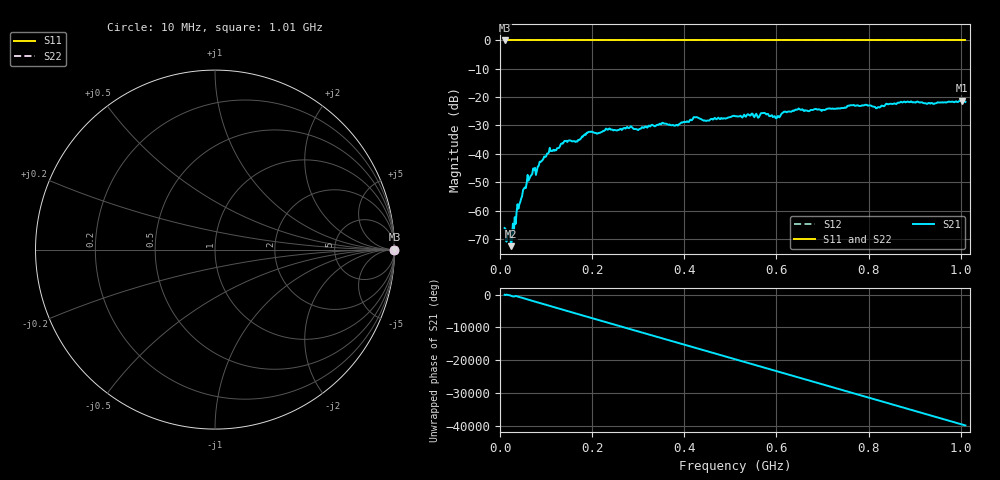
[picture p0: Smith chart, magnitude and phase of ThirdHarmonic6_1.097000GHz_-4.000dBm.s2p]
! 8/16/2025 10:16:05 AM
! C:\ANRITSUVNA\TEMP\TEMP.S2P
! CHANNEL.1
! TR.MEASUREMENT
! RAW.DATA
! RF.CORRECTION.OFF
! AVERAGING.OFF
! IF.BANDWIDTH: 5KHZ
! SWEEPTYPE:  FREQ.SWEEP(Linear)
! Reference Plane Port Info
! PORT:  PORT1  PORT2
! DISTANCE:  0  m  0  m
! TIME:  0  s  0  s
! PHASE.OFFSET:  0  deg.  0  deg.
! LOSS:  0  dB  0  dB
! REF.LOSS:  0  dB  0  dB
! REF.FREQ:  0  Hz  0  Hz
! Power Info
! POWER:  -20  dBm  -20  dBm
! EFF.POWER:  -20  dBm  -20  dBm
! SOURCE.ATTEN:  0  dB  0  dB
! TEST.ATTEN:  0  dB  0  dB
# GHZ S RI R 50.0
! FREQ.GHZ  S11RE  S11IM  S21RE  S21IM  S12RE  S12IM  S22RE  S22IM
!; PortSelection: Port_12
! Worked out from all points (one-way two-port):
!   501 points, 10 MHz to 1.01 GHz, reference 50 ohm
!   highest |S21| = -21.24 dB at 1.002 GHz (marker M1); lowest = -72.6 dB at 24 MHz (marker M2)
!   lowest |S11| = 0.0 dB at 10 MHz (marker M3)
!   |S11| at or under -10 dB: nowhere
!   |S22| runs from 0.0 to 0.0 dB; largest |S21 - S12| = 1.1
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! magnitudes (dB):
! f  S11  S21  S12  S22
! 10 MHz  0.0  -66.2  0.0  0.0
! 24 MHz  0.0  -72.6  0.0  0.0
! 28 MHz  0.0  -64.6  0.0  0.0
! 36 MHz  0.0  -60.6  0.0  0.0
! 50 MHz  0.0  -52.8  0.0  0.0
! 72 MHz  0.0  -45.2  0.0  0.0
! 106 MHz  0.0  -39.6  0.0  0.0
! 140 MHz  0.0  -35.5  0.0  0.0
! 178 MHz  0.0  -33.9  0.0  0.0
! 196 MHz  0.0  -32.3  0.0  0.0
! 344 MHz  0.0  -29.8  0.0  0.0
! 382 MHz  0.0  -29.9  0.0  0.0
! 424 MHz  0.0  -27.1  0.0  0.0
! 450 MHz  0.0  -28.2  0.0  0.0
! 510 MHz  0.0  -26.7  0.0  0.0
! 570 MHz  0.0  -25.6  0.0  0.0
! 602 MHz  0.0  -26.7  0.0  0.0
! 644 MHz  0.0  -24.5  0.0  0.0
! 678 MHz  0.0  -24.5  0.0  0.0
! 844 MHz  0.0  -22.5  0.0  0.0
! 1.002 GHz  0.0  -21.2  0.0  0.0
! 1.01 GHz  0.0  -21.7  0.0  0.0
